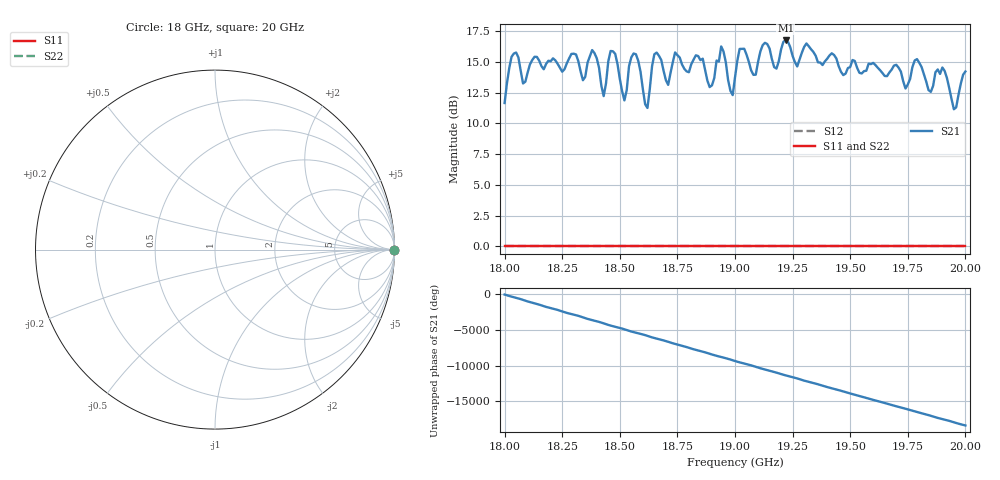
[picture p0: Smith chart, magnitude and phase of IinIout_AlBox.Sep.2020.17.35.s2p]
!Agilent N9918A: A.07.57
!Date: Monday, 21 September 2020 17:35:40
!Timezone: (GMT-08:00) Pacific Time (US & Canada)
!Model: N9918A
!Serial: MY53103598
!GPS Latitude:
!GPS Longitude:
!GPS TimeStamp: 0001-01-01 00:00:00Z
!GPS Seconds Since Last Read: 0
!CHECKSUM:1125466832
!Correction: S11()S21(Rdy)S12()S22()
!S2P File: Measurements:S11,S21,S12,S22:
# Hz S DB R 50
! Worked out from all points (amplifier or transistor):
!   201 points, 18 GHz to 20 GHz, reference 50 ohm
!   highest |S21| = 16.8 dB at 19.22 GHz (marker M1)
!   |S21| within 3 dB of that: 19 GHz to 19.73 GHz (725.8 MHz wide, 3.75 % of centre)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
!   unconditionally stable (mu >= 1): nowhere
!   at 18.33 GHz: K = 3.37, MSG = 7.1 dB, |S12| = 0.0 dB
!   at 19 GHz: K = 1.47, MSG = 6.9 dB, |S12| = 0.0 dB
!   at 20 GHz: K = 1.71, MSG = 7.1 dB, |S12| = 0.0 dB
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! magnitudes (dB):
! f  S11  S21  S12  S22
! 18 GHz  0.0  11.7  0.0  0.0
! 18.05 GHz  0.0  15.8  0.0  0.0
! 18.08 GHz  0.0  13.3  0.0  0.0
! 18.3 GHz  0.0  15.7  0.0  0.0
! 18.34 GHz  0.0  13.5  0.0  0.0
! 18.38 GHz  0.0  16.0  0.0  0.0
! 18.43 GHz  0.0  12.2  0.0  0.0
! 18.47 GHz  0.0  15.9  0.0  0.0
! 18.52 GHz  0.0  11.9  0.0  0.0
! 18.57 GHz  0.0  15.6  0.0  0.0
! 18.62 GHz  0.0  11.3  0.0  0.0
! 18.67 GHz  0.0  15.5  0.0  0.0
! 18.89 GHz  0.0  13.0  0.0  0.0
! 18.94 GHz  0.0  16.3  0.0  0.0
! 19 GHz  0.0  13.8  0.0  0.0
! 19.02 GHz  0.0  16.1  0.0  0.0
! 19.22 GHz  0.0  16.8  0.0  0.0
! 19.34 GHz  0.0  15.8  0.0  0.0
! 19.67 GHz  0.0  14.2  0.0  0.0
! 19.9 GHz  0.0  14.6  0.0  0.0
! 19.95 GHz  0.0  11.2  0.0  0.0
! 20 GHz  0.0  14.2  0.0  0.0
